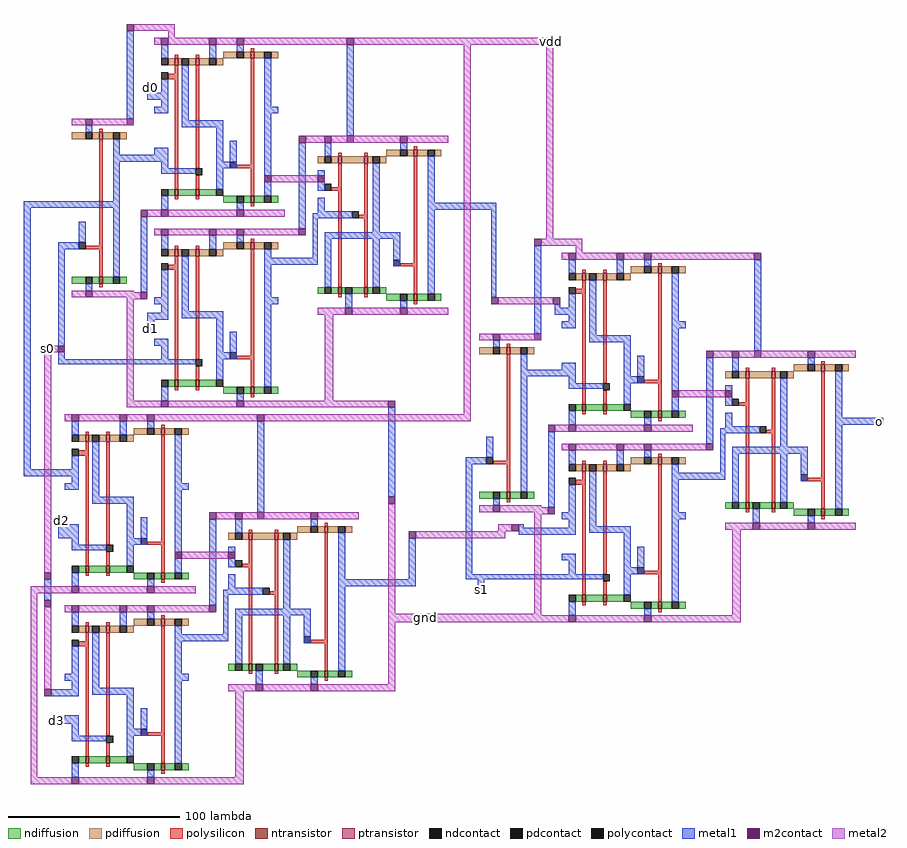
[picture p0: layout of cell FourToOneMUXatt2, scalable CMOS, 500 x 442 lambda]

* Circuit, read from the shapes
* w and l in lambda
.subckt FourToOneMUXatt2 d0 d1 d2 d3 gnd o s0 s1 vdd
M1 n1 s0 gnd VSUBS nfet w=4 l=2
M2 n2 WONOTTwoToOneMUX_0/and_0/a gnd VSUBS nfet w=4 l=2
M3 WONOTTwoToOneMUX_0/and_0/a s0 gnd VSUBS nfet w=4 l=2
M4 WONOTTwoToOneMUX_0/and_1/not_0/i d3 n1 VSUBS nfet w=4 l=2
M5 WONOTTwoToOneMUX_0/and_0/not_0/i d2 n2 VSUBS nfet w=4 l=2
M6 WONOTTwoToOneMUX_0/and_1/o WONOTTwoToOneMUX_0/and_1/not_0/i gnd VSUBS nfet w=4 l=2
M7 WONOTTwoToOneMUX_0/and_0/o WONOTTwoToOneMUX_0/and_0/not_0/i gnd VSUBS nfet w=4 l=2
M8 n3 d1 gnd VSUBS nfet w=4 l=2
M9 n4 d0 gnd VSUBS nfet w=4 l=2
M10 TwoToOneMUX_0/and_1/not_0/i s0 n3 VSUBS nfet w=4 l=2
M11 TwoToOneMUX_0/and_0/not_0/i WONOTTwoToOneMUX_0/and_0/a n4 VSUBS nfet w=4 l=2
M12 gnd WONOTTwoToOneMUX_0/and_0/o WONOTTwoToOneMUX_0/or_0/not_0/i VSUBS nfet w=4 l=2
M13 TwoToOneMUX_0/and_1/o TwoToOneMUX_0/and_1/not_0/i gnd VSUBS nfet w=4 l=2
M14 TwoToOneMUX_0/and_0/o TwoToOneMUX_0/and_0/not_0/i gnd VSUBS nfet w=4 l=2
M15 WONOTTwoToOneMUX_0/or_0/not_0/i WONOTTwoToOneMUX_0/and_1/o gnd VSUBS nfet w=4 l=2
M16 TwoToOneMUX_1/d1 WONOTTwoToOneMUX_0/or_0/not_0/i gnd VSUBS nfet w=4 l=2
M17 gnd TwoToOneMUX_0/and_0/o TwoToOneMUX_0/or_0/not_0/i VSUBS nfet w=4 l=2
M18 TwoToOneMUX_0/or_0/not_0/i TwoToOneMUX_0/and_1/o gnd VSUBS nfet w=4 l=2
M19 TwoToOneMUX_1/d0 TwoToOneMUX_0/or_0/not_0/i gnd VSUBS nfet w=4 l=2
M20 TwoToOneMUX_1/and_0/b s1 gnd VSUBS nfet w=4 l=2
M21 n5 TwoToOneMUX_1/d1 gnd VSUBS nfet w=4 l=2
M22 n6 TwoToOneMUX_1/d0 gnd VSUBS nfet w=4 l=2
M23 TwoToOneMUX_1/and_1/not_0/i s1 n5 VSUBS nfet w=4 l=2
M24 TwoToOneMUX_1/and_0/not_0/i TwoToOneMUX_1/and_0/b n6 VSUBS nfet w=4 l=2
M25 TwoToOneMUX_1/and_1/o TwoToOneMUX_1/and_1/not_0/i gnd VSUBS nfet w=4 l=2
M26 TwoToOneMUX_1/and_0/o TwoToOneMUX_1/and_0/not_0/i gnd VSUBS nfet w=4 l=2
M27 gnd TwoToOneMUX_1/and_0/o TwoToOneMUX_1/or_0/not_0/i VSUBS nfet w=4 l=2
M28 TwoToOneMUX_1/or_0/not_0/i TwoToOneMUX_1/and_1/o gnd VSUBS nfet w=4 l=2
M29 o TwoToOneMUX_1/or_0/not_0/i gnd VSUBS nfet w=4 l=2
M30 WONOTTwoToOneMUX_0/and_1/not_0/i s0 vdd NWELL pfet w=4 l=2
M31 WONOTTwoToOneMUX_0/and_0/not_0/i WONOTTwoToOneMUX_0/and_0/a vdd NWELL pfet w=4 l=2
M32 WONOTTwoToOneMUX_0/and_0/a s0 vdd NWELL pfet w=4 l=2
M33 vdd d3 WONOTTwoToOneMUX_0/and_1/not_0/i NWELL pfet w=4 l=2
M34 vdd d2 WONOTTwoToOneMUX_0/and_0/not_0/i NWELL pfet w=4 l=2
M35 WONOTTwoToOneMUX_0/and_1/o WONOTTwoToOneMUX_0/and_1/not_0/i vdd NWELL pfet w=4 l=2
M36 WONOTTwoToOneMUX_0/and_0/o WONOTTwoToOneMUX_0/and_0/not_0/i vdd NWELL pfet w=4 l=2
M37 TwoToOneMUX_0/and_1/not_0/i d1 vdd NWELL pfet w=4 l=2
M38 TwoToOneMUX_0/and_0/not_0/i d0 vdd NWELL pfet w=4 l=2
M39 vdd s0 TwoToOneMUX_0/and_1/not_0/i NWELL pfet w=4 l=2
M40 vdd WONOTTwoToOneMUX_0/and_0/a TwoToOneMUX_0/and_0/not_0/i NWELL pfet w=4 l=2
M41 n7 WONOTTwoToOneMUX_0/and_0/o vdd NWELL pfet w=4 l=2
M42 TwoToOneMUX_0/and_1/o TwoToOneMUX_0/and_1/not_0/i vdd NWELL pfet w=4 l=2
M43 TwoToOneMUX_0/and_0/o TwoToOneMUX_0/and_0/not_0/i vdd NWELL pfet w=4 l=2
M44 WONOTTwoToOneMUX_0/or_0/not_0/i WONOTTwoToOneMUX_0/and_1/o n7 NWELL pfet w=4 l=2
M45 TwoToOneMUX_1/d1 WONOTTwoToOneMUX_0/or_0/not_0/i vdd NWELL pfet w=4 l=2
M46 n8 TwoToOneMUX_0/and_0/o vdd NWELL pfet w=4 l=2
M47 TwoToOneMUX_0/or_0/not_0/i TwoToOneMUX_0/and_1/o n8 NWELL pfet w=4 l=2
M48 TwoToOneMUX_1/d0 TwoToOneMUX_0/or_0/not_0/i vdd NWELL pfet w=4 l=2
M49 TwoToOneMUX_1/and_0/b s1 vdd NWELL pfet w=4 l=2
M50 TwoToOneMUX_1/and_1/not_0/i TwoToOneMUX_1/d1 vdd NWELL pfet w=4 l=2
M51 TwoToOneMUX_1/and_0/not_0/i TwoToOneMUX_1/d0 vdd NWELL pfet w=4 l=2
M52 vdd s1 TwoToOneMUX_1/and_1/not_0/i NWELL pfet w=4 l=2
M53 vdd TwoToOneMUX_1/and_0/b TwoToOneMUX_1/and_0/not_0/i NWELL pfet w=4 l=2
M54 TwoToOneMUX_1/and_1/o TwoToOneMUX_1/and_1/not_0/i vdd NWELL pfet w=4 l=2
M55 TwoToOneMUX_1/and_0/o TwoToOneMUX_1/and_0/not_0/i vdd NWELL pfet w=4 l=2
M56 n9 TwoToOneMUX_1/and_0/o vdd NWELL pfet w=4 l=2
M57 TwoToOneMUX_1/or_0/not_0/i TwoToOneMUX_1/and_1/o n9 NWELL pfet w=4 l=2
M58 o TwoToOneMUX_1/or_0/not_0/i vdd NWELL pfet w=4 l=2
.ends

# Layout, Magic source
magic
tech scmos
<< metal1 >>
rect 52 183 56 188
rect -20 116 32 120
rect -20 -36 -16 116
rect 228 115 255 119
rect 252 64 255 115
rect 289 58 292 60
rect 52 44 56 51
rect -20 -40 0 -36
rect 192 -52 196 0
rect 465 -10 480 -6
rect 0 -72 4 -64
rect 268 -70 271 -68
rect 268 -74 289 -70
rect 204 -100 208 -76
rect -8 -112 -4 -100
rect 176 -104 208 -100
rect 244 -108 248 -100
rect -4 -168 0 -164
rect -3 -184 0 -181
<< metal2 >>
rect 172 211 288 215
rect -8 32 0 36
rect -8 -96 -4 32
rect 160 0 192 4
rect 236 -4 240 211
rect 284 98 288 211
rect 256 60 288 64
rect 120 -8 240 -4
rect -8 -164 -4 -116
rect 192 -120 196 -56
rect 256 -72 264 -68
rect 208 -76 260 -72
rect 192 -125 277 -120
rect 192 -161 196 -125
rect 175 -165 196 -161
<< m2contact >>
rect 252 60 256 64
rect 288 60 292 64
rect 0 32 4 36
rect 192 0 196 4
rect 192 -56 196 -52
rect 264 -72 268 -68
rect 204 -76 208 -72
rect -8 -100 -4 -96
rect -8 -116 -4 -112
rect -8 -168 -4 -164
use TwoToOneMUX  TwoToOneMUX_0
transform 1 0 60 0 1 111
box -60 -111 168 112
use TwoToOneMUX  TwoToOneMUX_1
transform 1 0 297 0 1 -14
box -60 -111 168 112
use WONOTTwoToOneMUX  WONOTTwoToOneMUX_0
transform 1 0 8 0 1 -108
box -24 -111 168 104
<< labels >>
rlabel metal1 54 186 54 186 1 d0
rlabel metal1 54 46 54 46 1 d1
rlabel metal1 2 -66 2 -66 1 d2
rlabel metal1 478 -8 478 -8 7 o
rlabel metal2 -6 34 -6 34 1 s0
rlabel metal1 246 -106 246 -106 1 s1
rlabel metal1 -1 -182 -1 -182 1 d3
rlabel metal2 287 213 287 213 1 vdd
rlabel metal2 214 -122 214 -122 1 gnd
<< end >>

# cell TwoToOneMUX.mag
magic
tech scmos
<< metal1 >>
rect -20 57 -16 108
rect -8 68 0 72
rect 108 47 112 100
rect -24 32 0 36
rect -60 -19 -48 -15
rect -60 -83 -56 -19
rect -12 -44 -8 0
rect 80 -7 84 43
rect 159 4 168 8
rect 88 -24 91 2
rect 64 -28 91 -24
rect 0 -56 4 -51
rect -8 -60 4 -56
rect -60 -86 0 -83
<< metal2 >>
rect -16 108 8 112
rect 4 104 8 108
rect 72 100 108 104
rect 84 43 95 47
rect 64 20 91 24
rect -8 0 0 4
rect 72 -11 80 -7
rect -16 -47 -12 -44
rect -20 -48 -12 -47
rect -20 -107 -16 -48
rect 95 -107 100 -57
rect -20 -111 0 -107
rect 72 -111 100 -107
<< m2contact >>
rect -20 108 -16 112
rect 108 100 112 104
rect -20 53 -16 57
rect 80 43 84 47
rect 108 43 112 47
rect 60 20 64 24
rect -12 0 -8 4
rect 91 20 95 24
rect 80 -11 84 -7
rect -12 -48 -8 -44
use and  and_0
transform 1 0 0 0 1 0
box 0 0 72 104
use and  and_1
transform 1 0 0 0 1 -111
box 0 0 72 104
use not  not_0
transform 1 0 -56 0 1 -47
box 8 0 40 104
use or  or_0
transform 1 0 91 0 1 -57
box 0 0 76 104
<< labels >>
rlabel metal1 -5 70 -5 70 1 d0
rlabel metal1 -6 -58 -6 -58 1 d1
rlabel metal1 -58 -68 -58 -68 3 s
rlabel metal1 166 7 166 7 7 out
rlabel metal2 101 102 101 102 1 vdd
rlabel metal2 96 -108 96 -108 1 gnd
<< end >>

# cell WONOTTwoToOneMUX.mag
magic
tech scmos
<< metal1 >>
rect -8 68 0 72
rect 108 47 112 100
rect -8 32 0 36
rect 80 -7 84 43
rect 159 4 168 8
rect 88 -24 91 2
rect 64 -28 91 -24
rect 0 -56 4 -51
rect -8 -60 4 -56
rect -8 -76 0 -73
<< metal2 >>
rect 72 100 108 104
rect 84 43 95 47
rect 64 20 91 24
rect -24 0 0 4
rect -24 -107 -20 0
rect 72 -11 80 -7
rect 95 -107 100 -57
rect -24 -111 0 -107
rect 72 -111 100 -107
<< m2contact >>
rect 108 100 112 104
rect 80 43 84 47
rect 108 43 112 47
rect 60 20 64 24
rect 91 20 95 24
rect 80 -11 84 -7
use and  and_0
transform 1 0 0 0 1 0
box 0 0 72 104
use and  and_1
transform 1 0 0 0 1 -111
box 0 0 72 104
use or  or_0
transform 1 0 91 0 1 -57
box 0 0 76 104
<< end >>

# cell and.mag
magic
tech scmos
<< metal1 >>
rect -4 60 0 64
rect 64 60 68 64
rect -4 36 0 40
rect 36 28 44 32
<< metal2 >>
rect -4 100 0 104
rect -4 0 0 4
use nand  nand_0
transform 1 0 -4 0 1 0
box 4 0 44 104
use not  not_0
transform 1 0 32 0 1 0
box 8 0 40 104
<< labels >>
rlabel metal2 -2 102 -2 102 4 vdd
rlabel metal1 -2 62 -2 62 3 a
rlabel metal2 -2 2 -2 2 2 gnd
rlabel metal1 66 62 66 62 1 o
rlabel metal1 -2 38 -2 38 3 b
<< end >>

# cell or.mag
magic
tech scmos
<< metal1 >>
rect 40 44 48 48
rect 44 28 48 44
use nor  nor_0
transform 1 0 0 0 1 0
box 0 0 44 104
use not  not_0
transform 1 0 36 0 1 0
box 8 0 40 104
<< end >>

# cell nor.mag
magic
tech scmos
<< polysilicon >>
rect 12 92 14 94
rect 27 92 29 94
rect 12 74 14 88
rect 8 72 14 74
rect 12 16 14 72
rect 27 58 29 88
rect 24 56 29 58
rect 27 16 29 56
rect 12 10 14 12
rect 27 10 29 12
<< ndiffusion >>
rect 0 12 4 16
rect 8 12 12 16
rect 14 12 16 16
rect 20 12 27 16
rect 29 12 32 16
rect 36 12 40 16
<< pdiffusion >>
rect 0 88 4 92
rect 8 88 12 92
rect 14 88 27 92
rect 29 88 32 92
rect 36 88 40 92
<< metal1 >>
rect 4 92 8 100
rect 0 72 4 84
rect 0 60 4 68
rect 0 56 20 60
rect 32 48 36 88
rect 4 44 44 48
rect 4 16 8 44
rect 32 16 36 44
rect 16 4 20 12
<< metal2 >>
rect 0 100 4 104
rect 8 100 44 104
rect 0 0 16 4
rect 20 0 44 4
<< ntransistor >>
rect 12 12 14 16
rect 27 12 29 16
<< ptransistor >>
rect 12 88 14 92
rect 27 88 29 92
<< polycontact >>
rect 4 72 8 76
rect 20 56 24 60
<< ndcontact >>
rect 4 12 8 16
rect 16 12 20 16
rect 32 12 36 16
<< pdcontact >>
rect 4 88 8 92
rect 32 88 36 92
<< m2contact >>
rect 4 100 8 104
rect 16 0 20 4
<< labels >>
rlabel metal2 2 102 2 102 4 vdd
rlabel metal1 2 82 2 82 3 a
rlabel metal1 2 66 2 66 3 b
rlabel metal1 42 46 42 46 7 o
rlabel metal2 2 2 2 2 2 gnd
<< end >>

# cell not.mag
magic
tech scmos
<< polysilicon >>
rect 20 96 22 98
rect 20 30 22 92
rect 12 28 22 30
rect 20 12 22 28
rect 20 6 22 8
<< ndiffusion >>
rect 4 8 12 12
rect 16 8 20 12
rect 22 8 28 12
rect 32 8 36 12
<< pdiffusion >>
rect 4 92 12 96
rect 16 92 20 96
rect 22 92 28 96
rect 32 92 36 96
<< metal1 >>
rect 12 96 16 100
rect 8 32 12 44
rect 28 12 32 92
rect 12 4 16 8
<< metal2 >>
rect 4 100 12 104
rect 16 100 40 104
rect 4 0 12 4
rect 16 0 40 4
<< ntransistor >>
rect 20 8 22 12
<< ptransistor >>
rect 20 92 22 96
<< polycontact >>
rect 8 28 12 32
<< ndcontact >>
rect 12 8 16 12
rect 28 8 32 12
<< pdcontact >>
rect 12 92 16 96
rect 28 92 32 96
<< m2contact >>
rect 12 100 16 104
rect 12 0 16 4
<< labels >>
rlabel metal2 6 2 6 2 2 gnd
rlabel metal2 6 102 6 102 4 vdd
rlabel polysilicon 21 64 21 64 1 i
rlabel metal1 30 63 30 63 1 o
<< end >>

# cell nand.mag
magic
tech scmos
<< polysilicon >>
rect 12 92 14 94
rect 24 92 26 94
rect 12 83 14 88
rect 8 80 14 83
rect 12 16 14 80
rect 24 28 26 88
rect 24 16 26 24
rect 12 10 14 12
rect 24 10 26 12
<< ndiffusion >>
rect 8 12 12 16
rect 14 12 24 16
rect 26 12 36 16
<< pdiffusion >>
rect 8 88 12 92
rect 14 88 16 92
rect 20 88 24 92
rect 26 88 32 92
rect 36 88 40 92
<< metal1 >>
rect 4 92 8 100
rect 32 92 36 100
rect 4 60 8 80
rect 16 56 20 88
rect 16 52 40 56
rect 4 28 8 40
rect 4 25 24 28
rect 36 16 40 52
rect 4 4 8 12
<< metal2 >>
rect 8 100 32 104
rect 36 100 44 104
rect 8 0 44 4
<< ntransistor >>
rect 12 12 14 16
rect 24 12 26 16
<< ptransistor >>
rect 12 88 14 92
rect 24 88 26 92
<< polycontact >>
rect 4 80 8 84
rect 24 24 28 28
<< ndcontact >>
rect 4 12 8 16
rect 36 12 40 16
<< pdcontact >>
rect 4 88 8 92
rect 16 88 20 92
rect 32 88 36 92
<< m2contact >>
rect 4 100 8 104
rect 32 100 36 104
rect 4 0 8 4
<< end >>
